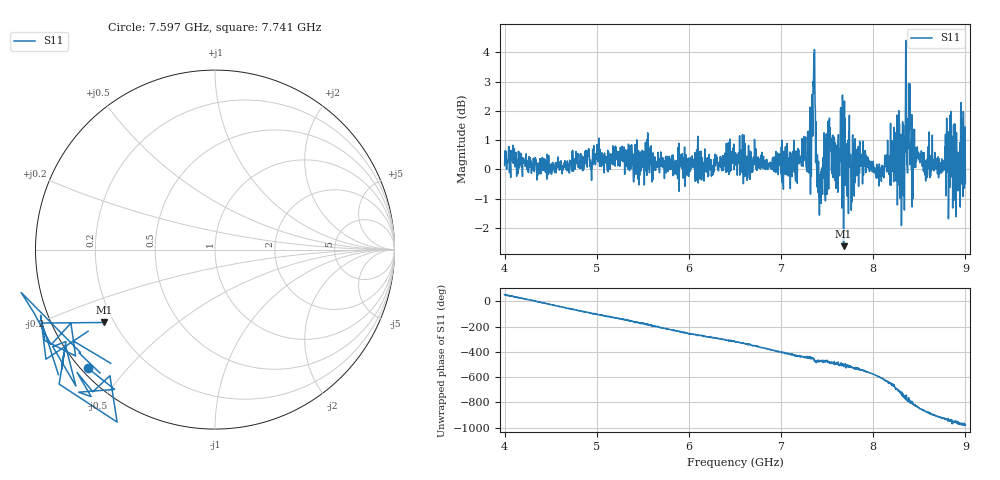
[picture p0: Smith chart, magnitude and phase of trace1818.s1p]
! Created with skrf 1.8.0 (http://scikit-rf.org).
# Hz S RI R 50.0
!freq ReS11 ImS11
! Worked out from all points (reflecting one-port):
!   1601 points, 4 GHz to 9 GHz, reference 50 ohm
!   lowest |S11| = -2.6 dB at 7.678 GHz (marker M1), VSWR 6.69, Z = 8.12 - j14.6 ohm
!   phase of S11 starts at 54 deg and turns -1029 deg over the sweep
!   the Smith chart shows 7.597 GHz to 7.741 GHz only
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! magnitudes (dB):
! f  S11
! 4 GHz  0.1
! 4.625 GHz  -0.2
! 5.25 GHz  0.1
! 5.875 GHz  0.0
! 6.5 GHz  0.3
! 7.125 GHz  0.6
! 7.297 GHz  0.6
! 7.356 GHz  3.9
! 7.372 GHz  2.0
! 7.4 GHz  -0.1
! 7.425 GHz  -0.6
! 7.525 GHz  1.8
! 7.606 GHz  0.6
! 7.65 GHz  1.0
! 7.678 GHz  -2.6
! 7.75 GHz  0.2
! 8.075 GHz  0.1
! 8.259 GHz  1.8
! 8.312 GHz  1.1
! 8.338 GHz  -1.4
! 8.356 GHz  2.4
! 8.375 GHz  1.0
! 8.447 GHz  1.4
! 8.734 GHz  0.2
! 8.866 GHz  0.5
! 8.919 GHz  -0.7
! 8.972 GHz  1.3
! 9 GHz  -0.5
